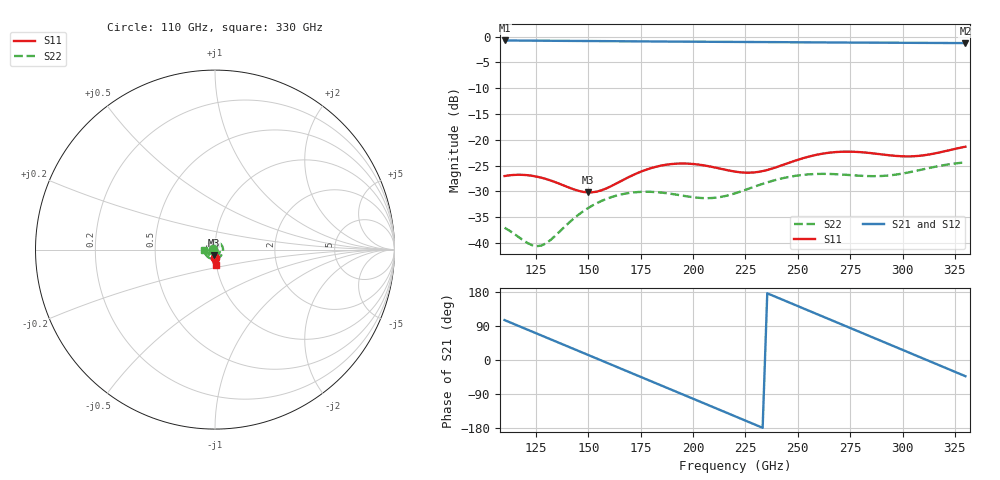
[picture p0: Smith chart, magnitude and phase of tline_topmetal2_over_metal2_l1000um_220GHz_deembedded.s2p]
! Created with skrf 2.0.1 (http://scikit-rf.org).
# GHz S DB R 50.0
!freq dBS11 angS11 dBS21 angS21 dBS12 angS12 dBS22 angS22
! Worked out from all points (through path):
!   101 points, 110 GHz to 330 GHz, reference 50 ohm
!   highest |S21| = -0.75 dB at 110 GHz (marker M1); lowest = -1.3 dB at 330 GHz (marker M2)
!   group delay of S21, straight-line fit = 6.41 ps
!   lowest |S11| = -30.2 dB at 149.6 GHz (marker M3), VSWR 1.06, Z = 49.4 - j3.01 ohm
!   |S11| at or under -10 dB: start of sweep to end of sweep
!   |S22| runs from -40.6 to -24.4 dB; largest |S21 - S12| = 1.1e-14
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110  -27.03 -91.4  -0.75 105.2  -0.75 105.2  -37.05 168.8
118.8  -26.80 -101.2  -0.77 85.0  -0.77 85.0  -39.46 121.8
127.6  -27.36 -108.8  -0.80 64.7  -0.80 64.7  -40.50 55.1
138.6  -28.92 -111.1  -0.83 39.3  -0.83 39.3  -36.88 -19.8
147.4  -30.10 -103.2  -0.85 19.0  -0.85 19.0  -33.90 -61.9
149.6  -30.20 -99.9  -0.86 14.0  -0.86 14.0  -33.31 -71.2
158.4  -29.46 -86.9  -0.88 -6.4  -0.88 -6.4  -31.49 -106.5
167.2  -27.66 -81.3  -0.91 -26.7  -0.91 -26.7  -30.47 -140.4
184.8  -25.00 -88.3  -0.95 -67.2  -0.95 -67.2  -30.24 148.8
193.6  -24.61 -94.5  -0.98 -87.5  -0.98 -87.5  -30.74 109.2
202.4  -24.80 -99.7  -1.00 -107.8  -1.00 -107.8  -31.24 64.9
220  -26.17 -98.8  -1.03 -148.4  -1.03 -148.4  -30.39 -30.5
228.8  -26.34 -91.5  -1.05 -168.8  -1.05 -168.8  -29.16 -74.3
237.6  -25.60 -84.3  -1.07 170.9  -1.07 170.9  -28.00 -114.3
246.4  -24.37 -81.6  -1.09 150.6  -1.09 150.6  -27.16 -152.0
257.4  -23.05 -84.0  -1.12 125.1  -1.12 125.1  -26.65 161.8
266.2  -22.45 -88.2  -1.14 104.8  -1.14 104.8  -26.64 124.0
275  -22.31 -92.5  -1.16 84.5  -1.16 84.5  -26.85 84.2
283.8  -22.54 -95.3  -1.17 64.2  -1.17 64.2  -27.04 41.9
294.8  -23.05 -94.8  -1.19 38.7  -1.19 38.7  -26.86 -13.4
312.4  -22.87 -86.7  -1.22 -2.0  -1.22 -2.0  -25.50 -98.6
330  -21.35 -84.8  -1.26 -42.8  -1.26 -42.8  -24.39 -175.4
